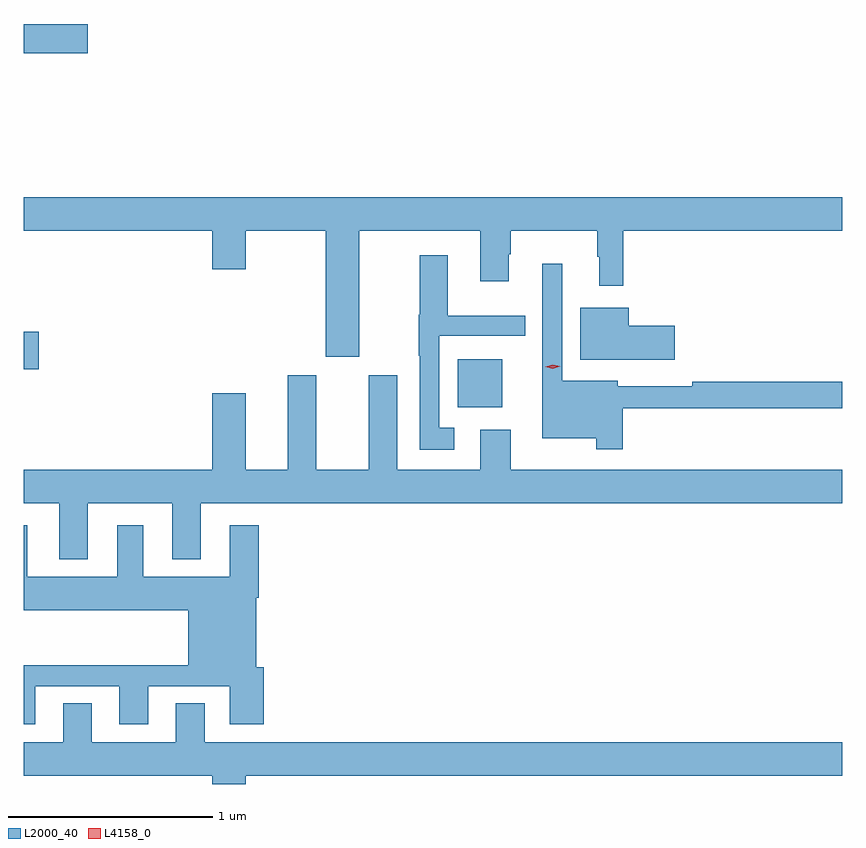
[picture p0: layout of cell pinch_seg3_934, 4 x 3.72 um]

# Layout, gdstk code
import gdstk
lib = gdstk.Library(unit=1e-6, precision=1e-09)
def R(c, l, rs):  # rectangles x0, y0, x1, y1
    for r in rs: c.add(gdstk.rectangle(r[:2], r[2:], *l))
def P(c, l, *ps):  # polygons
    for p in ps: c.add(gdstk.Polygon(p, *l))
L2000_40 = (2000, 40)
L4158_0 = (4158, 0)

pinch_seg3_934 = lib.new_cell('pinch_seg3_934')
R(pinch_seg3_934, L2000_40, [(549.824,714.707,550.042,714.94), (547.704,714.893,547.777,715.076), (547.704,716.438,548.017,716.58)])
P(pinch_seg3_934, L2000_40, [(549.343,715.568),(549.935,715.568),(549.935,715.323),(550.075,715.323),(550.075,715.454),(550.083,715.454),(550.083,715.568),(550.506,715.568),(550.506,715.442),(550.517,715.442),(550.517,715.299),(550.634,715.299),(550.634,715.568),(551.704,715.568),(551.704,715.732),(547.704,715.732),(547.704,715.568),(548.624,715.568),(548.624,715.38),(548.788,715.38),(548.788,715.568),(549.179,715.568),(549.179,714.954),(549.343,714.954)],
  [(549.808,714.607),(549.735,714.607),(549.735,715.056),(550.154,715.056),(550.154,715.153),(549.775,715.153),(549.775,715.45),(549.638,715.45),(549.638,715.159),(549.634,715.159),(549.634,714.959),(549.639,714.959),(549.639,714.498),(549.808,714.498)],
  [(550.631,714.702),(551.704,714.702),(551.704,714.83),(550.972,714.83),(550.972,714.81),(550.608,714.81),(550.608,714.835),(550.335,714.835),(550.335,715.408),(550.239,715.408),(550.239,714.931),(550.238,714.931),(550.238,714.554),(550.503,714.554),(550.503,714.501),(550.631,714.501)],
  [(550.885,715.104),(550.66,715.104),(550.66,715.192),(550.424,715.192),(550.424,714.938),(550.885,714.938)],
  [(548.017,714.236),(548.429,714.236),(548.429,713.963),(548.569,713.963),(548.569,714.236),(551.704,714.236),(551.704,714.4),(550.084,714.4),(550.084,714.595),(549.935,714.595),(549.935,714.4),(549.529,714.4),(549.529,714.862),(549.389,714.862),(549.389,714.4),(549.133,714.4),(549.133,714.862),(548.993,714.862),(548.993,714.4),(548.788,714.4),(548.788,714.775),(548.624,714.775),(548.624,714.4),(547.704,714.4),(547.704,714.236),(547.877,714.236),(547.877,713.963),(548.017,713.963)],
  [(547.759,713.343),(548.171,713.343),(548.171,713.157),(548.311,713.157),(548.311,713.343),(548.711,713.343),(548.711,713.157),(548.876,713.157),(548.876,713.436),(548.839,713.436),(548.839,713.774),(548.852,713.774),(548.852,714.13),(548.711,714.13),(548.711,713.878),(548.287,713.878),(548.287,714.13),(548.159,714.13),(548.159,713.878),(547.72,713.878),(547.72,714.13),(547.704,714.13),(547.704,713.714),(548.507,713.714),(548.507,713.444),(547.704,713.444),(547.704,713.157),(547.759,713.157)],
  [(548.788,712.904),(551.704,712.904),(551.704,713.068),(548.587,713.068),(548.587,713.258),(548.447,713.258),(548.447,713.068),(548.035,713.068),(548.035,713.258),(547.895,713.258),(547.895,713.068),(547.704,713.068),(547.704,712.904),(548.624,712.904),(548.624,712.864),(548.788,712.864)])
P(pinch_seg3_934, L4158_0, [(550.29,714.895),(550.254,714.903),(550.253,714.903),(550.254,714.904),(550.289,714.915),(550.325,714.907),(550.325,714.907),(550.325,714.907)])

lib.write_gds('pinch_seg3_934.gds')
